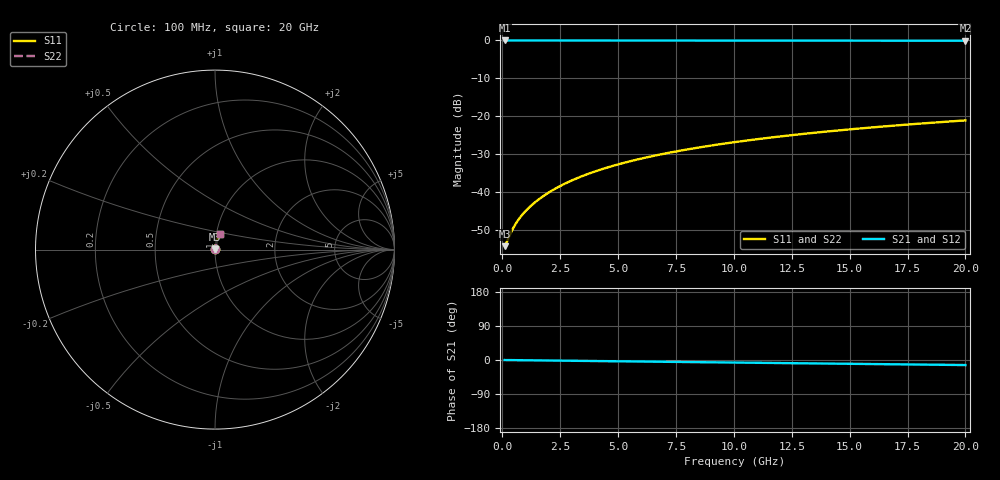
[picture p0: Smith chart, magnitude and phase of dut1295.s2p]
! Touchstone file exported from HFSS 2026.1.0
!  File:  C:/ffzhzh/LocalFiles/Ansys_Project_Files/temp_train_BSMRDL_1295_1783178091_22436.aedt
!  Generated:  11:16:03 PM Jul  4, 2026
!  Design:  BSMRDL
!  Project:  temp_train_BSMRDL_1295_1783178091_22436
! Variables:
!  h_bsmrdl = 2.1um
!  h_ox = 20um
!  h_rdl = 5um
!  h_sub = 80um
!  h_tmrdl = 5um
!  h_tsv = 80um
!  h_via = 3um
!  l_bsmrdl = 196.42um
!  l_sub = 596.42um
!  l_tmrdl = 200um
!  m_sub = 200um
!  pitch = 33.26um
!  r_tsv = 6um
!  s_tmrdl = 10um
!  w_bsmrdl = 23.36um
!  w_sub = 500um
!  w_tmrdl = 12um
!  x_tsv_center1 = 206um
!  x_tsv_center2 = 425.78um
!  x_tsv_center3 = 637.78um
!  x_tsv_center4 = 857.56um
!  x_tsv_center5 = 1069.56um
!  x_tsv_center6 = 1289.34um
# GHz S MA R 50.000000
! Terminal data exported
! Port[1] = BSM_RDL1_1_T1
! Port[2] = BSM_RDL1_1_T2
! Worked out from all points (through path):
!   200 points, 100 MHz to 20 GHz, reference 50 ohm
!   highest |S21| = -0.02 dB at 100 MHz (marker M1); lowest = -0.1 dB at 20 GHz (marker M2)
!   group delay of S21, straight-line fit = 1.85 ps
!   lowest |S11| = -54.3 dB at 100 MHz (marker M3), VSWR 1.00, Z = 50.2 + j0.059 ohm
!   |S11| at or under -10 dB: start of sweep to end of sweep
!   |S22| runs from -54.3 to -21.1 dB; largest |S21 - S12| = 3.1e-15
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0.1  0.001938 17.7  0.9982 -0.1  0.9982 -0.1  0.001938 17.7
! Gamma 0 0 0 0
! Port Impedance 50 0 50 0
0.2  0.002227 31.4  0.9981 -0.1  0.9981 -0.1  0.002227 31.4
0.4  0.003042 47.1  0.9979 -0.3  0.9979 -0.3  0.003042 47.1
0.6  0.003913 54.9  0.9978 -0.4  0.9978 -0.4  0.003913 54.9
0.7  0.004342 57.5  0.9977 -0.5  0.9977 -0.5  0.004342 57.5
0.9  0.005185 61.6  0.9976 -0.6  0.9976 -0.6  0.005185 61.6
1.1  0.006022 64.6  0.9975 -0.8  0.9975 -0.8  0.006022 64.6
1.3  0.00686 67.1  0.9974 -0.9  0.9974 -0.9  0.006861 67.1
1.8  0.008987 71.4  0.9973 -1.2  0.9973 -1.2  0.008987 71.4
2.3  0.01116 74.2  0.9972 -1.6  0.9972 -1.6  0.01116 74.2
2.9  0.0138 76.2  0.9971 -2.0  0.9971 -2.0  0.0138 76.2
3.5  0.01647 77.5  0.997 -2.4  0.997 -2.4  0.01647 77.5
4.2  0.0196 78.5  0.9969 -2.8  0.9969 -2.8  0.0196 78.5
5  0.02318 79.1  0.9967 -3.4  0.9967 -3.4  0.02318 79.0
5.9  0.02721 79.3  0.9965 -4.0  0.9965 -4.0  0.02721 79.3
6.8  0.03124 79.4  0.9962 -4.6  0.9962 -4.6  0.03124 79.4
8.3  0.03792 79.1  0.9958 -5.6  0.9958 -5.6  0.03792 79.1
10.1  0.04587 78.4  0.9951 -6.8  0.9951 -6.8  0.04587 78.4
11.7  0.05288 77.7  0.9945 -7.9  0.9945 -7.9  0.05288 77.7
13.4  0.06026 76.9  0.9938 -9.0  0.9938 -9.0  0.06026 76.8
16.7  0.07437 75.0  0.9923 -11.2  0.9923 -11.2  0.07437 75.0
20  0.08819 73.0  0.9905 -13.3  0.9905 -13.3  0.08819 73.0
